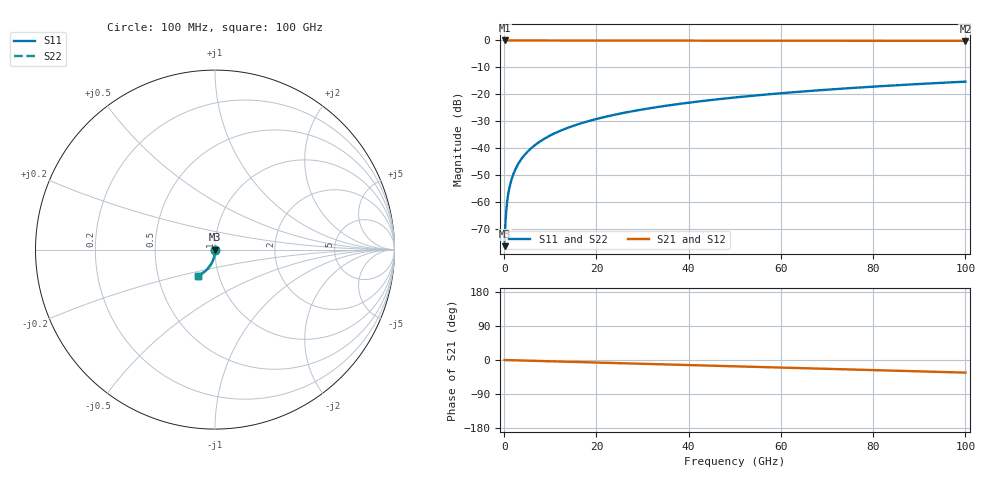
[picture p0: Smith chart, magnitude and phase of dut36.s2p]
! Touchstone file exported from HFSS 2026.1.0
!  File:  C:/ffzhzh/LocalFiles/Ansys_Project_Files/temp_train_TSV_36_1783504671_44152.aedt
!  Generated:  05:59:02 PM Jul  8, 2026
!  Design:  TSV
!  Project:  temp_train_TSV_36_1783504671_44152
! Variables:
!  h_bsmrdl = 2um
!  h_ox = 20um
!  h_rdl = 5um
!  h_sub = 63.41um
!  h_tmrdl = 5um
!  h_tsv = 63.41um
!  h_via = 3um
!  l_bsmrdl = 300um
!  l_sub = 429.44um
!  l_tmrdl = 200um
!  m_sub = 200um
!  pitch = 44.8um
!  r_tsv = 14.72um
!  s_tmrdl = 10um
!  w_bsmrdl = 18um
!  w_sub = 500um
!  w_tmrdl = 12um
!  x_tsv_center1 = 206um
!  x_tsv_center2 = 524um
!  x_tsv_center3 = 736um
!  x_tsv_center4 = 1054um
!  x_tsv_center5 = 1266um
!  x_tsv_center6 = 1584um
# GHz S MA R 50.000000
! Terminal data exported
! Port[1] = TSV1_1_T1
! Port[2] = TSV1_1_T2
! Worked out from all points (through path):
!   1000 points, 100 MHz to 100 GHz, reference 50 ohm
!   highest |S21| = 0.00 dB at 100 MHz (marker M1); lowest = -0.2 dB at 100 GHz (marker M2)
!   group delay of S21, straight-line fit = 924 fs
!   lowest |S11| = -76.2 dB at 100 MHz (marker M3), VSWR 1.00, Z = 50 - j0.014 ohm
!   |S11| at or under -10 dB: start of sweep to end of sweep
!   |S22| runs from -76.2 to -15.3 dB; largest |S21 - S12| = 1.9e-15
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0.1  0.0001541 -64.9  0.9999 -0.0  0.9999 -0.0  0.0001541 -64.9
! Gamma 0 0 0 0
! Port Impedance 50 0 50 0
0.3  0.0004458 -77.5  0.9999 -0.1  0.9999 -0.1  0.0004458 -77.5
0.7  0.001104 -81.7  0.9998 -0.2  0.9998 -0.2  0.001104 -81.7
0.8  0.001274 -82.3  0.9998 -0.3  0.9998 -0.3  0.001274 -82.3
1  0.001615 -83.3  0.9998 -0.3  0.9998 -0.3  0.001615 -83.3
1.3  0.002127 -84.5  0.9998 -0.4  0.9998 -0.4  0.002127 -84.5
1.7  0.002813 -85.5  0.9997 -0.6  0.9997 -0.6  0.002813 -85.5
2.3  0.003846 -86.4  0.9997 -0.8  0.9997 -0.8  0.003846 -86.4
2.9  0.004885 -87.1  0.9997 -1.0  0.9997 -1.0  0.004885 -87.1
3.7  0.006279 -87.8  0.9996 -1.3  0.9996 -1.3  0.006279 -87.8
4.7  0.008029 -88.6  0.9995 -1.6  0.9995 -1.6  0.008029 -88.6
5.8  0.009959 -89.3  0.9995 -2.0  0.9995 -2.0  0.009959 -89.3
8.6  0.01488 -90.7  0.9993 -2.9  0.9993 -2.9  0.01488 -90.7
12.2  0.02123 -92.2  0.9991 -4.1  0.9991 -4.1  0.02123 -92.2
16.8  0.02937 -94.0  0.9987 -5.6  0.9987 -5.6  0.02937 -94.0
24.2  0.04245 -96.8  0.9981 -8.1  0.9981 -8.1  0.04245 -96.8
33.4  0.05868 -100.1  0.9971 -11.2  0.9971 -11.2  0.05868 -100.1
41.2  0.07238 -102.8  0.9961 -13.8  0.9961 -13.8  0.07238 -102.8
50.1  0.08794 -105.8  0.9947 -16.7  0.9947 -16.7  0.08794 -105.8
66.7  0.1167 -111.4  0.9915 -22.2  0.9915 -22.2  0.1167 -111.5
83.4  0.1451 -117.1  0.9874 -27.8  0.9874 -27.8  0.1451 -117.1
100  0.1725 -122.7  0.9826 -33.3  0.9826 -33.3  0.1725 -122.7
